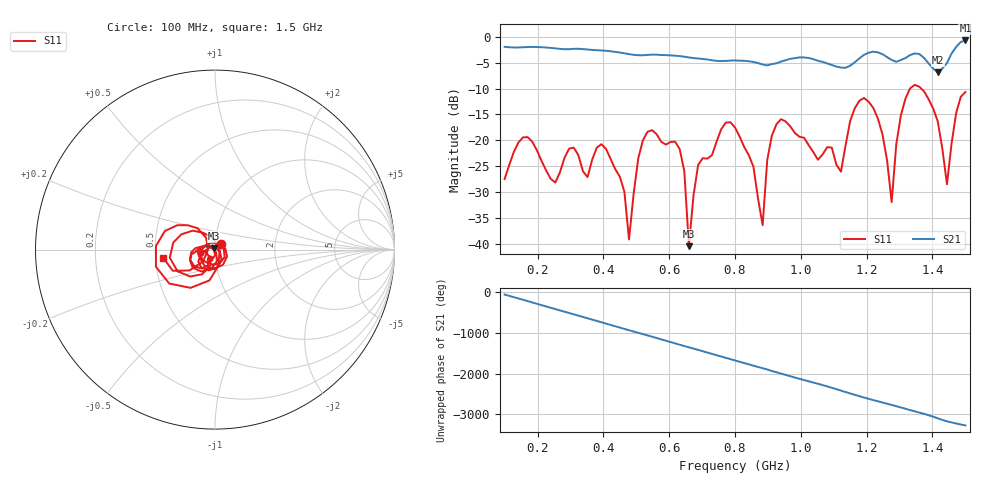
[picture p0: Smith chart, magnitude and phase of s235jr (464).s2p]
! NanoVNA-App
! Date: 2025-09-25 15:07:46
! Start: 100MHz Stop: 1,5GHz Points: 101
! S-Parameter data: F S11 S21 S12 S22
# Hz S RI R 50
!  Frequency  S11_Real  S11_Imag  S21_Real  S21_Imag  S12_Real  S12_Imag  S22_Real  S22_Imag
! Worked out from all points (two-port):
!   101 points, 100 MHz to 1.5 GHz, reference 50 ohm
!   highest |S21| = -0.73 dB at 1.5 GHz (marker M1); lowest = -6.9 dB at 1.416 GHz (marker M2)
!   |S21| within 3 dB of the highest: start of sweep to 629.8 MHz; 1.187 GHz to 1.257 GHz (69.48 MHz wide, 5.69 % of centre) (the widest 2 of 4)
!   lowest |S11| = -40.4 dB at 660 MHz (marker M3), VSWR 1.02, Z = 49.3 + j0.625 ohm
!   |S11| at or under -10 dB: start of sweep to 1.332 GHz; 1.366 GHz to end of sweep
!   S12 and S22 are empty: the file has one direction only
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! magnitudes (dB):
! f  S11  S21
! 100 MHz  -27.5  -2.0
! 156 MHz  -19.4  -2.0
! 338 MHz  -26.0  -2.4
! 408 MHz  -21.6  -2.7
! 478 MHz  -39.1  -3.4
! 520 MHz  -20.0  -3.6
! 576 MHz  -20.3  -3.5
! 632 MHz  -21.7  -3.7
! 660 MHz  -40.4  -4.0
! 688 MHz  -24.7  -4.2
! 800 MHz  -17.5  -4.6
! 884 MHz  -36.4  -5.4
! 926 MHz  -16.9  -5.1
! 1.038 GHz  -22.3  -4.3
! 1.122 GHz  -26.0  -6.0
! 1.192 GHz  -11.8  -3.5
! 1.248 GHz  -18.8  -3.4
! 1.276 GHz  -31.9  -4.5
! 1.332 GHz  -10.0  -3.5
! 1.416 GHz  -16.3  -6.9
! 1.444 GHz  -28.5  -5.1
! 1.5 GHz  -10.7  -0.7
